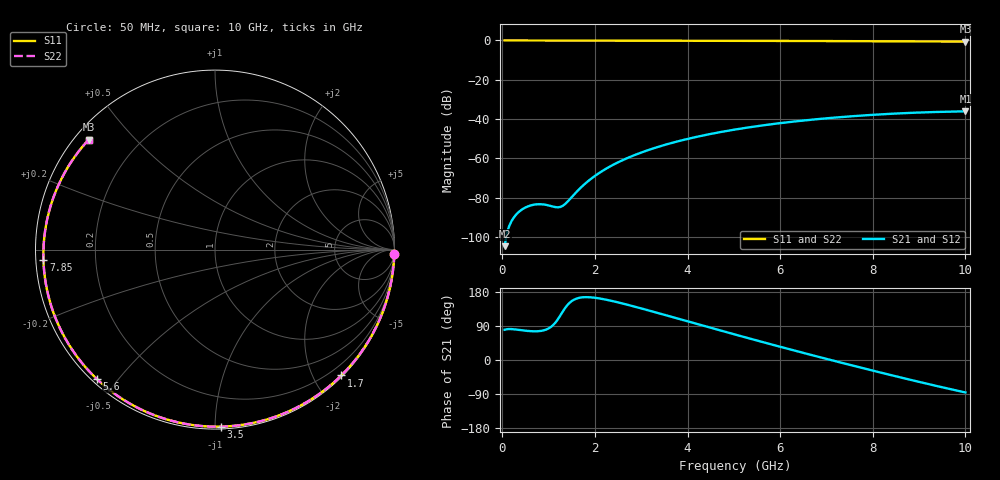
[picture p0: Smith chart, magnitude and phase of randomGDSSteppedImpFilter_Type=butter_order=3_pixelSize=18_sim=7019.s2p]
! freq	dB(S11)	phase(S11)	dB(S12)	phase(S12)
!  dB(S21)	phase(S21)	dB(S22)	phase(S22)
!S-par simulation data
#  GHz  S  DB  R 50
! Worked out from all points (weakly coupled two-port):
!   200 points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, 50 MHz to 10 GHz, reference 50 ohm
!   highest |S21| = -36.12 dB at 10 GHz (marker M1); lowest = -104.8 dB at 50 MHz (marker M2)
!   lowest |S11| = -0.6 dB at 10 GHz (marker M3), VSWR 28.93, Z = 1.97 + j18.7 ohm
!   |S11| at or under -10 dB: nowhere
!   |S22| runs from -0.6 to 0.0 dB; largest |S21 - S12| = 0
!   S11 on the Smith chart (normalised r, x): 50 MHz: 1, -87; 1.7 GHz: 0.02, -2.42; 3.5 GHz: 0.01, -1.03; 5.6 GHz: 0.01, -0.44; 7.85 GHz: 0.02, -0.03; 10 GHz: 0.04, +0.37
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0.05  -0.00 -1.3  -104.79 79.8  -104.79 79.8  -0.00 -1.3
0.4  -0.02 -10.7  -86.53 78.8  -86.53 78.8  -0.02 -10.7
0.75  -0.03 -20.1  -83.46 75.8  -83.46 75.8  -0.03 -20.1
1.45  -0.05 -38.5  -81.10 150.6  -81.10 150.6  -0.05 -38.5
1.5  -0.05 -39.8  -79.80 155.6  -79.80 155.6  -0.05 -39.8
1.7  -0.06 -44.9  -74.85 164.9  -74.85 164.9  -0.06 -44.9
1.75  -0.06 -46.1  -73.75 165.6  -73.75 165.6  -0.06 -46.1
2.05  -0.07 -53.7  -68.17 163.4  -68.17 163.4  -0.07 -53.7
2.45  -0.08 -63.5  -62.66 153.5  -62.66 153.5  -0.08 -63.5
2.9  -0.09 -74.2  -57.98 139.4  -57.98 139.4  -0.09 -74.2
3.4  -0.11 -85.8  -53.95 122.7  -53.95 122.7  -0.11 -85.8
3.5  -0.11 -88.1  -53.26 119.2  -53.26 119.2  -0.11 -88.1
4.25  -0.14 -104.5  -48.83 93.5  -48.83 93.5  -0.14 -104.5
5.05  -0.18 -121.2  -45.28 66.4  -45.28 66.4  -0.18 -121.2
5.6  -0.21 -132.4  -43.34 48.0  -43.34 48.0  -0.21 -132.3
6.15  -0.24 -143.2  -41.70 30.0  -41.70 30.0  -0.24 -143.2
6.7  -0.28 -154.0  -40.32 12.4  -40.32 12.4  -0.28 -154.0
7.3  -0.33 -165.7  -39.06 -6.5  -39.06 -6.5  -0.33 -165.7
7.85  -0.38 -176.5  -38.11 -23.5  -38.11 -23.5  -0.38 -176.4
8.35  -0.42 173.6  -37.41 -38.6  -37.41 -38.6  -0.42 173.6
9.15  -0.51 157.2  -36.59 -62.1  -36.59 -62.1  -0.51 157.3
10  -0.60 139.0  -36.12 -85.7  -36.12 -85.7  -0.60 139.0
